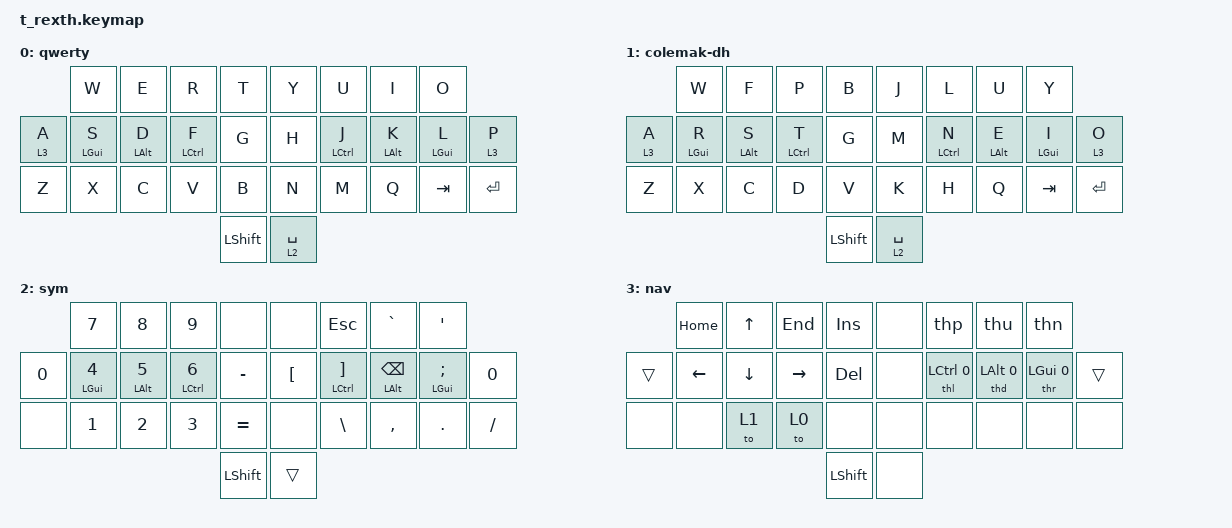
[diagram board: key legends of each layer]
#include <behaviors.dtsi>
#include <dt-bindings/zmk/keys.h>

&lt {
  tapping-term-ms = <250>;
  quick-tap-ms = <200>;
  flavor = "balanced";
};

&mt {
  tapping-term-ms = <250>;
  quick-tap-ms = <200>;
  flavor = "tap-preferred";
};

#define str(s) #s

#define TMUX_MACRO(NAME, BINDING) \
  tm##NAME: macro_tm##NAME { \
    compatible = "zmk,behavior-macro"; \
    label = str(macro_tm##NAME); \
    #binding-cells = <0>; \
    bindings \
      = <&macro_press &kp LCTRL> \
      , <&macro_tap &kp A> \
      , <&macro_release &kp LCTRL> \
      , <&macro_tap &kp BINDING> \
      ; \
    };

#define TMUX_HOLD_TAP_MACRO(NAME, BINDING) \
  th##NAME: hold_tap_th##NAME { \
    compatible = "zmk,behavior-hold-tap"; \
    label = str(hold_tap_th##NAME); \
    #binding-cells = <2>; \
    tapping-term-ms = <250>; \
    quick-tap-ms = <200>; \
    flavor = "tap-preferred"; \
    bindings = <&kp>, <&BINDING>; \
  };

/ {
  macros {
    TMUX_MACRO(u, UP)
    TMUX_MACRO(d, DOWN)
    TMUX_MACRO(l, LEFT)
    TMUX_MACRO(r, RIGHT)
    TMUX_MACRO(p, P)
    TMUX_MACRO(n, N)
  };

  behaviors {
    TMUX_HOLD_TAP_MACRO(u, tmu)
    TMUX_HOLD_TAP_MACRO(d, tmd)
    TMUX_HOLD_TAP_MACRO(l, tml)
    TMUX_HOLD_TAP_MACRO(r, tmr)
    TMUX_HOLD_TAP_MACRO(p, tmp)
    TMUX_HOLD_TAP_MACRO(n, tmn)
  };

  keymap {
    compatible = "zmk,keymap";

    qwerty {
    bindings = <
                &kp W         &kp E         &kp R          &kp T           &kp Y      &kp U           &kp I          &kp O
      &lt 3 A   &mt LGUI S    &mt LALT D    &mt LCTRL F    &kp G           &kp H      &mt LCTRL J     &mt LALT K     &mt LGUI L      &lt 3 P
      &kp Z     &kp X         &kp C         &kp V          &kp B           &kp N      &kp M           &kp Q          &kp TAB         &kp ENTER
                                                           &kp LSHIFT      &lt 2 SPACE
    >;
    };

    colemak-dh {
    bindings = <
                &kp W         &kp F         &kp P          &kp B           &kp J      &kp L           &kp U          &kp Y
      &lt 3 A   &mt LGUI R    &mt LALT S    &mt LCTRL T    &kp G           &kp M      &mt LCTRL N     &mt LALT E     &mt LGUI I      &lt 3 O
      &kp Z     &kp X         &kp C         &kp D          &kp V           &kp K      &kp H           &kp Q          &kp TAB         &kp ENTER
                                                           &kp LSHIFT      &lt 2 SPACE
    >;
    };

    sym {
    bindings = <
                &kp N7        &kp N8        &kp N9         &none           &none      &kp ESC         &kp GRAVE      &kp APOS
      &kp 0     &mt LGUI N4   &mt LALT N5   &mt LCTRL N6   &kp MINUS       &kp LBKT   &mt LCTRL RBKT  &mt LALT BSPC  &mt LGUI SEMI   &kp 0
      &none     &kp N1        &kp N2        &kp N3         &kp EQUAL       &none      &kp BSLH        &kp COMMA      &kp DOT         &kp SLASH
                                                           &kp LSHIFT      &trans
    >;
    };

    nav {
    bindings = <
                &kp HOME      &kp UP        &kp END        &kp INS         &none      &thp            &thu           &thn
      &trans    &kp LEFT      &kp DOWN      &kp RIGHT      &kp DEL         &none      &thl LCTRL 0    &thd LALT 0    &thr LGUI 0     &trans
      &none     &none         &to 1         &to 0          &none           &none      &none           &none          &none           &none
                                                           &kp LSHIFT      &none
    >;
    };
  };
};
